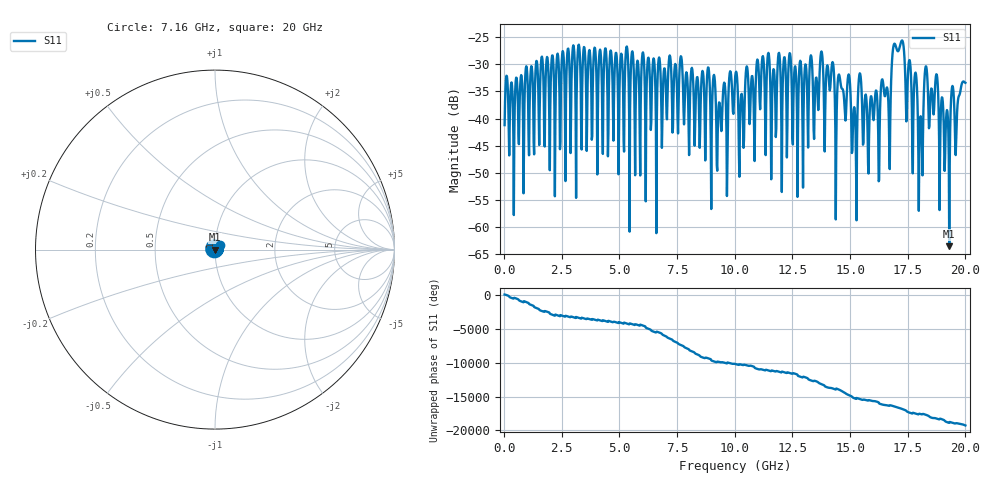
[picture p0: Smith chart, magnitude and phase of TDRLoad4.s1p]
! File created by SignalIntegrity v1.1.10: Signal and Power Integrity Tools
! https://github.com/TeledyneLeCroy/SignalIntegrity
# MHz S MA R 50.0
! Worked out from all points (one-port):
!   1000 points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, 20 MHz to 20 GHz, reference 50 ohm
!   lowest |S11| = -63.5 dB at 19.3 GHz (marker M1), VSWR 1.00, Z = 49.9 - j0.0427 ohm
!   |S11| at or under -10 dB: start of sweep to end of sweep
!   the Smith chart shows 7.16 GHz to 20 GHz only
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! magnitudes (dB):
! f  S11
! 20 MHz  -41.2
! 2.52 GHz  -28.0
! 5.02 GHz  -31.3
! 7.52 GHz  -40.0
! 8.84 GHz  -30.6
! 9.32 GHz  -37.0
! 10.02 GHz  -32.2
! 10.28 GHz  -35.6
! 10.52 GHz  -30.4
! 12.52 GHz  -44.8
! 13.3 GHz  -28.3
! 13.52 GHz  -32.5
! 13.76 GHz  -27.6
! 15.02 GHz  -35.6
! 15.18 GHz  -37.9
! 15.42 GHz  -31.7
! 15.78 GHz  -48.4
! 16.26 GHz  -51.3
! 16.42 GHz  -33.1
! 16.66 GHz  -37.1
! 16.9 GHz  -26.3
! 17.22 GHz  -25.8
! 17.52 GHz  -30.9
! 17.84 GHz  -31.5
! 18.06 GHz  -39.6
! 18.28 GHz  -30.4
! 19.3 GHz  -63.5
! 20 GHz  -33.4
